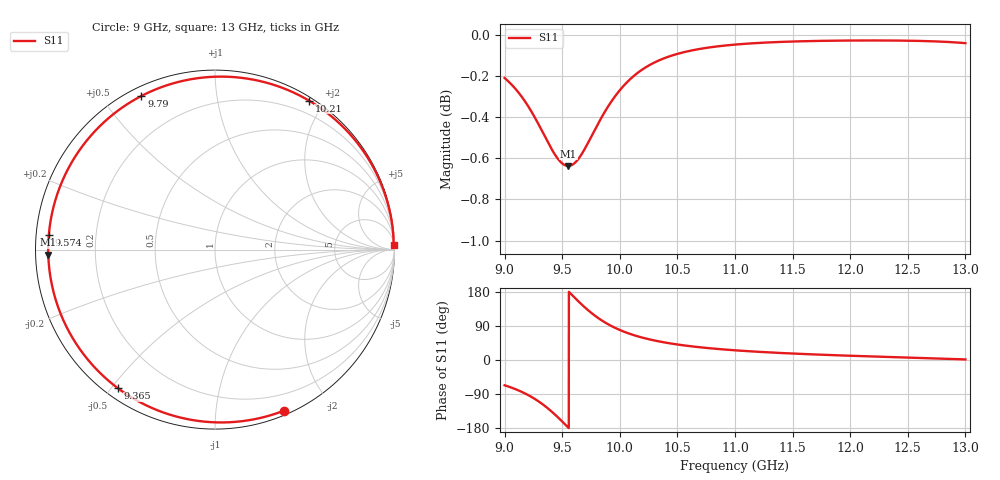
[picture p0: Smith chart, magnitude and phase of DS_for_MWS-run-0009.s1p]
! TOUCHSTONE file generated by CST DESIGN STUDIO
! Date and time: Tue Feb  4 13:28:00 2025
! Project name: C:\Work\MatlabApps\UnitCellOptimizationMatlab\CST\unitcell.cst
! Tree item: Tasks\Sweep1\SPara1\S-Parameters
! Header version: 2024
! Port assignment regex: !\s*Touchstone port\s*([0-9]+)\s*=\s*(CST MWS port|CST DES external port|CST DES block port)\s*(.+)\s* \(\"(.*)\"\)(\s*mode\s*([0-9]+))?.*
! Touchstone port assignment:
! Touchstone port 1 = CST DES external port 1 ("")
# GHz S MA R 50
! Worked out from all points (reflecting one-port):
!   4001 points, 9 GHz to 13 GHz, reference 50 ohm
!   lowest |S11| = -0.6 dB at 9.552 GHz (marker M1), VSWR 27.27, Z = 1.83 - j0.773 ohm
!   phase of S11 starts at -67 deg and turns -292 deg over the sweep
!   S11 on the Smith chart (normalised r, x): 9 GHz: 0.04, -1.52; 9.365 GHz: 0.04, -0.52; 9.574 GHz: 0.04, +0.04; 9.79 GHz: 0.04, +0.63; 10.21 GHz: 0.04, +1.81; 13 GHz: 13, +73
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9  0.9762 -66.7
9.041  0.9738 -70.9
9.107  0.9693 -78.5
9.219  0.9594 -95.0
9.296  0.951 -109.4
9.365  0.9429 -125.0
9.43  0.9358 -141.9
9.5  0.9306 -162.3
9.552  0.9293 -178.2
9.574  0.9295 175.0
9.628  0.932 158.5
9.688  0.9373 141.2
9.739  0.9431 127.7
9.79  0.9491 115.6
9.835  0.9542 106.1
9.883  0.9592 97.0
9.937  0.9643 88.1
10  0.9695 79.2
10.101  0.9761 67.6
10.212  0.9815 57.8
10.344  0.9859 48.8
10.5  0.9894 40.9
10.721  0.9924 32.8
11  0.9946 25.6
11.5  0.9963 17.0
12  0.9968 11.2
12.5  0.9967 6.4
13  0.9954 1.5
